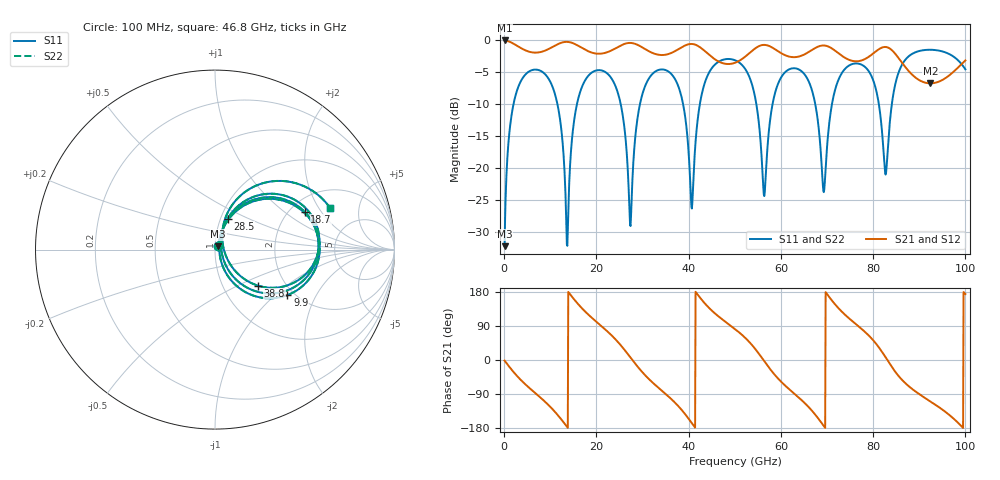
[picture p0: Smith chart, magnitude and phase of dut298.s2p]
! Touchstone file exported from HFSS 2026.1.0
!  File:  C:/ffzhzh/LocalFiles/Ansys_Project_Files/temp_train_TSV_RDL_298_1783696291_45164.aedt
!  Generated:  11:42:43 PM Jul 10, 2026
!  Design:  TSV_RDL
!  Project:  temp_train_TSV_RDL_298_1783696291_45164
! Variables:
!  h_bsmrdl = 4.32um
!  h_ox = 20um
!  h_rdl = 5um
!  h_sub = 66.07um
!  h_tmrdl = 3.85um
!  h_tsv = 66.07um
!  h_via = 3um
!  l_bsmrdl = 471.71um
!  l_sub = 4532.47um
!  l_tmrdl = 644.61um
!  m_sub = 200um
!  pitch = 58.48um
!  r_tsv = 9.32um
!  s_tmrdl = 10um
!  w_bsmrdl = 23.59um
!  w_sub = 500um
!  w_tmrdl = 22.71um
!  x_tsv_center1 = 655.965um
!  x_tsv_center2 = 1151.265um
!  x_tsv_center3 = 1818.585um
!  x_tsv_center4 = 2313.885um
!  x_tsv_center5 = 2981.205um
!  x_tsv_center6 = 3476.505um
# GHz S MA R 50.000000
! Terminal data exported
! Port[1] = TM_RDL1_1_T1
! Port[2] = TM_RDL5_1_T1
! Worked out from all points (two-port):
!   1000 points, 100 MHz to 100 GHz, reference 50 ohm
!   highest |S21| = -0.15 dB at 100 MHz (marker M1); lowest = -6.8 dB at 92.4 GHz (marker M2)
!   |S21| within 3 dB of the highest: start of sweep to 45.83 GHz; 51.35 GHz to 74.72 GHz (23.37 GHz wide, 37.1 % of centre) (the widest 2 of 3)
!   lowest |S11| = -32.2 dB at 100 MHz (marker M3), VSWR 1.05, Z = 51.7 + j1.83 ohm
!   |S11| at or under -10 dB: 11.53 GHz to 15.8 GHz (4.272 GHz wide, 31.3 % of centre); 25.25 GHz to 29.46 GHz (4.21 GHz wide, 15.4 % of centre); 38.78 GHz to 42.44 GHz (3.666 GHz wide, 9.03 % of centre) (the widest 3 of 7)
!   |S22| runs from -32.2 to -1.6 dB; largest |S21 - S12| = 1.4e-12
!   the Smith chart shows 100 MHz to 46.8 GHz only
!   S11 on the Smith chart (normalised r, x): 100 MHz: 1.03, +0.04; 9.9 GHz: 1.84, -1.21; 18.7 GHz: 2.39, +1.43; 28.5 GHz: 1.08, +0.38; 38.8 GHz: 1.46, -0.65; 46.8 GHz: 2.90, +2.53
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0.1  0.0246 45.9  0.9832 -1.7  0.9832 -1.7  0.0246 45.9
! Gamma 0 0 0 0
! Port Impedance 50 0 50 0
2.8  0.4019 44.7  0.8939 -42.2  0.8939 -42.2  0.4019 44.7
9.9  0.4763 -32.2  0.8529 -122.3  0.8529 -122.3  0.4763 -32.2
13.7  0.02476 18.1  0.9588 -177.3  0.9588 -177.3  0.02466 18.3
16.8  0.4213 43.9  0.8626 137.4  0.8626 137.4  0.4213 44.0
18.7  0.5421 22.9  0.7978 114.8  0.7978 114.8  0.5421 22.9
24.6  0.3896 -38.9  0.8721 48.4  0.8721 48.4  0.3896 -38.8
27.3  0.03611 -9.1  0.9408 7.9  0.9408 7.9  0.03612 -9.1
28.5  0.1847 67.8  0.9225 -10.9  0.9225 -10.9  0.1847 67.8
33.4  0.5783 16.0  0.7615 -72.7  0.7615 -72.7  0.5783 16.0
38.8  0.3134 -39.9  0.8827 -136.3  0.8827 -136.3  0.3134 -39.9
40.7  0.04832 17.9  0.9233 -166.7  0.9233 -166.7  0.04856 17.9
46.8  0.6811 20.1  0.666 111.9  0.666 111.9  0.6811 20.1
50.1  0.6886 -8.2  0.6598 81.2  0.6598 81.2  0.6886 -8.1
56.6  0.07324 28.2  0.9073 -6.5  0.9073 -6.5  0.07387 28.0
59.9  0.4958 30.3  0.7889 -55.5  0.7889 -55.5  0.496 30.2
66.7  0.4065 -37.3  0.8275 -133.3  0.8275 -133.3  0.4066 -37.3
69.3  0.06477 6.7  0.8987 -174.2  0.8987 -174.2  0.06502 6.5
74.3  0.6097 22.3  0.7073 115.0  0.7073 115.0  0.6097 22.2
83.4  0.1834 53.7  0.8597 -6.3  0.8597 -6.3  0.1837 53.5
92.4  0.8322 -19.4  0.4559 -109.3  0.4559 -109.3  0.8323 -19.5
100  0.5858 -90.4  0.6879 174.1  0.6879 174.1  0.5859 -90.6
